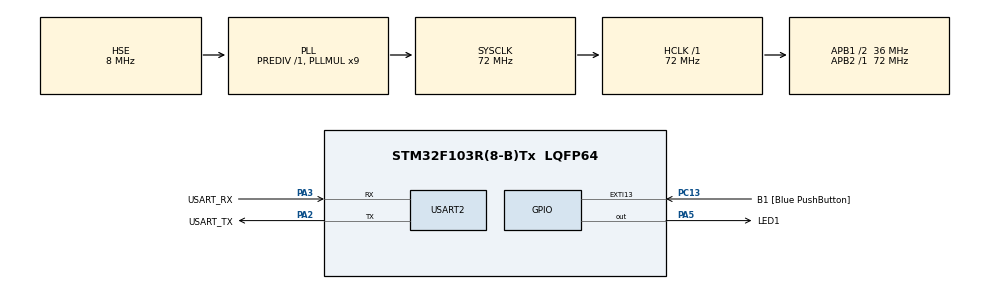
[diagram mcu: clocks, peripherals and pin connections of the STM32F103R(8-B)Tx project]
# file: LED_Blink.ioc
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Mcu.Family=STM32F1
Mcu.Name=STM32F103R(8-B)Tx
Mcu.Package=LQFP64
NVIC.EXTI15_10_IRQn=true\:0\:0\:false\:false\:true\:true\:true\:true
NVIC.PriorityGroup=NVIC_PRIORITYGROUP_4
NVIC.TIM2_IRQn=true\:0\:0\:false\:false\:true\:true\:true\:true
NVIC.USART2_IRQn=true\:0\:0\:false\:false\:true\:true\:true\:true
PA0-WKUP.Signal=S_TIM2_CH1_ETR
PA13.GPIO_Label=TMS
PA13.Mode=Serial_Wire
PA13.Signal=SYS_JTMS-SWDIO
PA14.GPIO_Label=TCK
PA14.Mode=Serial_Wire
PA14.Signal=SYS_JTCK-SWCLK
PA2.GPIO_Label=USART_TX
PA2.GPIO_Mode=GPIO_MODE_AF_PP
PA2.GPIO_PuPd=GPIO_NOPULL
PA2.GPIO_Speed=GPIO_SPEED_FREQ_LOW
PA2.Mode=Asynchronous
PA2.Signal=USART2_TX
PA3.GPIO_Label=USART_RX
PA3.GPIO_Mode=GPIO_MODE_AF_PP
PA3.GPIO_PuPd=GPIO_NOPULL
PA3.GPIO_Speed=GPIO_SPEED_FREQ_LOW
PA3.Mode=Asynchronous
PA3.Signal=USART2_RX
PA5.GPIO_Label=LED1
PA5.Signal=GPIO_Output
PB3.GPIO_Label=SWO
PB3.Signal=SYS_JTDO-TRACESWO
PC13-TAMPER-RTC.GPIO_Label=B1 [Blue PushButton]
PC13-TAMPER-RTC.GPIO_PuPd=GPIO_NOPULL
PC13-TAMPER-RTC.Signal=GPXTI13
PC14-OSC32_IN.Signal=RCC_OSC32_IN
PC15-OSC32_OUT.Signal=RCC_OSC32_OUT
PD0-OSC_IN.Mode=HSE-External-Oscillator
PD0-OSC_IN.Signal=RCC_OSC_IN
PD1-OSC_OUT.Mode=HSE-External-Oscillator
PD1-OSC_OUT.Signal=RCC_OSC_OUT
ProjectManager.HeapSize=0x200
ProjectManager.StackSize=0x400
ProjectManager.TargetToolchain=STM32CubeIDE
RCC.AHBFreq_Value=72000000
RCC.APB1CLKDivider=RCC_HCLK_DIV2
RCC.APB1Freq_Value=36000000
RCC.APB1TimFreq_Value=72000000
RCC.APB2Freq_Value=72000000
RCC.APB2TimFreq_Value=72000000
RCC.HCLKFreq_Value=72000000
RCC.PLLMUL=RCC_PLL_MUL9
RCC.PLLSourceVirtual=RCC_PLLSOURCE_HSE
RCC.RTCClockSelection=RCC_RTCCLKSOURCE_LSE
RCC.SYSCLKFreq_VALUE=72000000
RCC.SYSCLKSource=RCC_SYSCLKSOURCE_PLLCLK
RCC.USBFreq_Value=72000000
SH.S_TIM2_CH1_ETR.0=TIM2_ETR
TIM2.Period=1000-1
TIM2.Prescaler=7200-1
USART2.VirtualMode=VM_ASYNC
VP_TIM2_VS_ClockSourceINT.Mode=Internal
board=NUCLEO-F103RB

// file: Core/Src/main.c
/* USER CODE BEGIN Header */
/**
  ******************************************************************************
  * @file           : main.c
  * @brief          : Main program body
  ******************************************************************************
  * @attention
  *
  * Copyright (c) 2024 STMicroelectronics.
  * All rights reserved.
  *
  * This software is licensed under terms that can be found in the LICENSE file
  * in the root directory of this software component.
  * If no LICENSE file comes with this software, it is provided AS-IS.
  *
  ******************************************************************************
  */
/* USER CODE END Header */
#include "main.h"

/* USER CODE BEGIN Includes */
#include <stdio.h>
#include "stm32f1xx_hal.h"
/* USER CODE END Includes */

TIM_HandleTypeDef htim2;

UART_HandleTypeDef huart2;

/* USER CODE BEGIN PV */
enum {Stop, Run};
uint8_t LedState = Stop;
uint8_t rxData;
uint32_t cnt = 0;
uint8_t update = 0;
/* USER CODE END PV */

void SystemClock_Config(void);
static void MX_GPIO_Init(void);
static void MX_USART2_UART_Init(void);
static void MX_TIM2_Init(void);

/* USER CODE BEGIN 0 */

	void HAL_UART_RxCpltCallback(UART_HandleTypeDef *huart)
	{
		if(huart->Instance == USART2)
		{
			switch(LedState)
				{
					case Stop :
						if(rxData == 'r')
						{
							LedState = Run;
						}
						break;
					case Run :
						if(rxData == 's')
						{
							LedState = Stop;
						}
						break;
				}
			HAL_UART_Receive_IT(&huart2, &rxData, 1);
		}
	}
	void HAL_TIM_PeriodElapsedCallback(TIM_HandleTypeDef *htim)
	{
	    if (htim->Instance == TIM2)
	    {
	        cnt++;
	        if(cnt > 999)
	        {
	            cnt = 0;
	            update = 1;
	        }
	    }
	}
	void SystemRun()
		{
		if (update) {
			switch(LedState)
				{
					case Stop :
						HAL_GPIO_WritePin(LED1_GPIO_Port, LED1_Pin, GPIO_PIN_RESET);
						break;
					case Run :
						HAL_GPIO_TogglePin(LED1_GPIO_Port, LED1_Pin);
						break;
				}
				update = 0;
			}
		}

/* USER CODE END 0 */

int main(void)
{

  /* MCU Configuration--------------------------------------------------------*/

  /* Reset of all peripherals, Initializes the Flash interface and the Systick. */
  HAL_Init();

  /* Configure the system clock */
  SystemClock_Config();

  /* Initialize all configured peripherals */
  MX_GPIO_Init();
  MX_USART2_UART_Init();
  MX_TIM2_Init();
  /* USER CODE BEGIN 2 */
  HAL_GPIO_WritePin(LED1_GPIO_Port, LED1_Pin, GPIO_PIN_SET);
  HAL_UART_Receive_IT(&huart2, &rxData, 1);
  HAL_TIM_Base_Start_IT(&htim2);
  /* USER CODE END 2 */

  /* Infinite loop */
  /* USER CODE BEGIN WHILE */

  while (1)
  {
	  SystemRun();
    /* USER CODE END WHILE */

  }
}

void SystemClock_Config(void)
{
  RCC_OscInitTypeDef RCC_OscInitStruct = {0};
  RCC_ClkInitTypeDef RCC_ClkInitStruct = {0};

  /** Initializes the RCC Oscillators according to the specified parameters
  * in the RCC_OscInitTypeDef structure.
  */
  RCC_OscInitStruct.OscillatorType = RCC_OSCILLATORTYPE_HSE;
  RCC_OscInitStruct.HSEState = RCC_HSE_ON;
  RCC_OscInitStruct.HSEPredivValue = RCC_HSE_PREDIV_DIV1;
  RCC_OscInitStruct.HSIState = RCC_HSI_ON;
  RCC_OscInitStruct.PLL.PLLState = RCC_PLL_ON;
  RCC_OscInitStruct.PLL.PLLSource = RCC_PLLSOURCE_HSE;
  RCC_OscInitStruct.PLL.PLLMUL = RCC_PLL_MUL9;
  if (HAL_RCC_OscConfig(&RCC_OscInitStruct) != HAL_OK)
  {
    Error_Handler();
  }

  /** Initializes the CPU, AHB and APB buses clocks
  */
  RCC_ClkInitStruct.ClockType = RCC_CLOCKTYPE_HCLK|RCC_CLOCKTYPE_SYSCLK
                              |RCC_CLOCKTYPE_PCLK1|RCC_CLOCKTYPE_PCLK2;
  RCC_ClkInitStruct.SYSCLKSource = RCC_SYSCLKSOURCE_PLLCLK;
  RCC_ClkInitStruct.AHBCLKDivider = RCC_SYSCLK_DIV1;
  RCC_ClkInitStruct.APB1CLKDivider = RCC_HCLK_DIV2;
  RCC_ClkInitStruct.APB2CLKDivider = RCC_HCLK_DIV1;

  if (HAL_RCC_ClockConfig(&RCC_ClkInitStruct, FLASH_LATENCY_2) != HAL_OK)
  {
    Error_Handler();
  }
}

static void MX_TIM2_Init(void)
{

  TIM_ClockConfigTypeDef sClockSourceConfig = {0};
  TIM_MasterConfigTypeDef sMasterConfig = {0};

  htim2.Instance = TIM2;
  htim2.Init.Prescaler = 72000-1;
  htim2.Init.CounterMode = TIM_COUNTERMODE_UP;
  htim2.Init.Period = 1000-1;
  htim2.Init.ClockDivision = TIM_CLOCKDIVISION_DIV1;
  htim2.Init.AutoReloadPreload = TIM_AUTORELOAD_PRELOAD_DISABLE;
  if (HAL_TIM_Base_Init(&htim2) != HAL_OK)
  {
    Error_Handler();
  }
  sClockSourceConfig.ClockSource = TIM_CLOCKSOURCE_INTERNAL;
  if (HAL_TIM_ConfigClockSource(&htim2, &sClockSourceConfig) != HAL_OK)
  {
    Error_Handler();
  }
  sMasterConfig.MasterOutputTrigger = TIM_TRGO_RESET;
  sMasterConfig.MasterSlaveMode = TIM_MASTERSLAVEMODE_DISABLE;
  if (HAL_TIMEx_MasterConfigSynchronization(&htim2, &sMasterConfig) != HAL_OK)
  {
    Error_Handler();
  }

}

static void MX_USART2_UART_Init(void)
{

  huart2.Instance = USART2;
  huart2.Init.BaudRate = 115200;
  huart2.Init.WordLength = UART_WORDLENGTH_8B;
  huart2.Init.StopBits = UART_STOPBITS_1;
  huart2.Init.Parity = UART_PARITY_NONE;
  huart2.Init.Mode = UART_MODE_TX_RX;
  huart2.Init.HwFlowCtl = UART_HWCONTROL_NONE;
  huart2.Init.OverSampling = UART_OVERSAMPLING_16;
  if (HAL_UART_Init(&huart2) != HAL_OK)
  {
    Error_Handler();
  }

}

static void MX_GPIO_Init(void)
{
  GPIO_InitTypeDef GPIO_InitStruct = {0};

  /* GPIO Ports Clock Enable */
  __HAL_RCC_GPIOC_CLK_ENABLE();
  __HAL_RCC_GPIOD_CLK_ENABLE();
  __HAL_RCC_GPIOA_CLK_ENABLE();
  __HAL_RCC_GPIOB_CLK_ENABLE();

  /*Configure GPIO pin Output Level */
  HAL_GPIO_WritePin(LED1_GPIO_Port, LED1_Pin, GPIO_PIN_RESET);

  /*Configure GPIO pin : B1_Pin */
  GPIO_InitStruct.Pin = B1_Pin;
  GPIO_InitStruct.Mode = GPIO_MODE_IT_RISING;
  GPIO_InitStruct.Pull = GPIO_NOPULL;
  HAL_GPIO_Init(B1_GPIO_Port, &GPIO_InitStruct);

  /*Configure GPIO pin : LED1_Pin */
  GPIO_InitStruct.Pin = LED1_Pin;
  GPIO_InitStruct.Mode = GPIO_MODE_OUTPUT_PP;
  GPIO_InitStruct.Pull = GPIO_NOPULL;
  GPIO_InitStruct.Speed = GPIO_SPEED_FREQ_LOW;
  HAL_GPIO_Init(LED1_GPIO_Port, &GPIO_InitStruct);

  /* EXTI interrupt init*/
  HAL_NVIC_SetPriority(EXTI15_10_IRQn, 0, 0);
  HAL_NVIC_EnableIRQ(EXTI15_10_IRQn);

}

void Error_Handler(void)
{
  __disable_irq();
  while (1)
  {
  }
}
